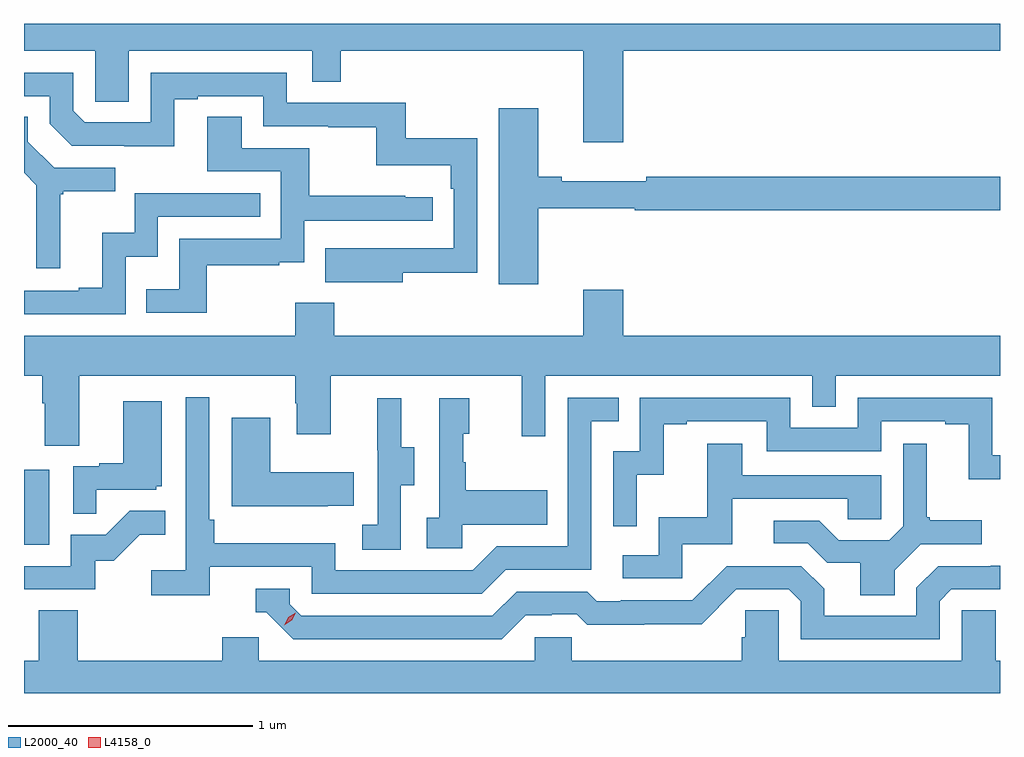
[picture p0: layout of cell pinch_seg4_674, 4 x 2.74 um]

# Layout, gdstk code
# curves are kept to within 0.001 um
import gdstk
lib = gdstk.Library(unit=1e-6, precision=1e-09)
def R(c, l, rs):  # rectangles x0, y0, x1, y1
    for r in rs: c.add(gdstk.rectangle(r[:2], r[2:], *l))
def P(c, l, *ps):  # polygons
    for p in ps: c.add(gdstk.Polygon(p, *l))
L2000_40 = (2000, 40)
L4158_0 = (4158, 0)

pinch_seg4_674 = lib.new_cell('pinch_seg4_674')
R(pinch_seg4_674, L2000_40, [(1085.793,749.508,1085.896,749.815)])
P(pinch_seg4_674, L2000_40, [(1088.248,751.532),(1089.793,751.532),(1089.793,751.643),(1085.793,751.643),(1085.793,751.532),(1086.084,751.532),(1086.084,751.324),(1086.223,751.324),(1086.223,751.532),(1086.975,751.532),(1086.975,751.405),(1087.091,751.405),(1087.091,751.532),(1088.084,751.532),(1088.084,751.158),(1088.248,751.158)],
  [(1087.345,750.622),(1087.65,750.622),(1087.65,751.174),(1087.357,751.174),(1087.357,751.32),(1086.87,751.32),(1086.87,751.443),(1086.312,751.443),(1086.312,751.239),(1086.042,751.239),(1085.994,751.287),(1085.994,751.443),(1085.793,751.443),(1085.793,751.347),(1085.898,751.347),(1085.898,751.233),(1085.988,751.143),(1086.409,751.142),(1086.409,751.335),(1086.505,751.335),(1086.505,751.347),(1086.774,751.347),(1086.774,751.224),(1087.039,751.224),(1087.039,751.219),(1087.236,751.219),(1087.236,751.064),(1087.541,751.064),(1087.541,750.968),(1087.554,750.968),(1087.554,750.723),(1087.027,750.724),(1087.027,750.584),(1087.345,750.584)],
  [(1087.9,750.888),(1088.296,750.888),(1088.296,750.88),(1089.793,750.88),(1089.793,751.016),(1088.344,751.016),(1088.344,750.997),(1087.996,750.997),(1087.996,751.016),(1087.9,751.016),(1087.9,751.297),(1087.739,751.297),(1087.739,750.576),(1087.9,750.576)],
  [(1085.941,750.945),(1085.953,750.945),(1085.953,750.956),(1086.166,750.956),(1086.166,751.053),(1085.916,751.053),(1085.809,751.16),(1085.809,751.262),(1085.793,751.262),(1085.793,751.032),(1085.844,750.981),(1085.844,750.642),(1085.941,750.642)],
  [(1086.541,750.654),(1086.839,750.654),(1086.839,750.665),(1086.942,750.665),(1086.942,750.837),(1087.468,750.837),(1087.468,750.933),(1087.355,750.933),(1087.355,750.938),(1086.962,750.938),(1086.962,751.134),(1086.685,751.134),(1086.685,751.262),(1086.545,751.262),(1086.545,751.038),(1086.846,751.038),(1086.846,750.762),(1086.43,750.762),(1086.43,750.556),(1086.295,750.556),(1086.295,750.459),(1086.541,750.459)],
  [(1086.21,750.689),(1086.342,750.689),(1086.342,750.852),(1086.761,750.852),(1086.761,750.948),(1086.246,750.948),(1086.246,750.787),(1086.113,750.787),(1086.113,750.562),(1086.017,750.562),(1086.017,750.549),(1085.793,750.549),(1085.793,750.453),(1086.21,750.453)],
  [(1086.019,750.2),(1086.904,750.2),(1086.904,750.089),(1086.911,750.089),(1086.911,749.961),(1087.051,749.961),(1087.051,750.2),(1087.832,750.2),(1087.832,749.952),(1087.929,749.952),(1087.929,750.2),(1089.024,750.2),(1089.024,750.073),(1089.12,750.073),(1089.12,750.2),(1089.793,750.2),(1089.793,750.364),(1088.248,750.364),(1088.248,750.553),(1088.084,750.553),(1088.084,750.364),(1087.064,750.364),(1087.064,750.499),(1086.904,750.499),(1086.904,750.364),(1085.793,750.364),(1085.793,750.2),(1085.867,750.2),(1085.867,750.088),(1085.879,750.088),(1085.879,749.914),(1086.019,749.914)],
  [(1086.554,749.418),(1086.972,749.418),(1086.972,749.307),(1087.669,749.307),(1087.768,749.406),(1088.118,749.406),(1088.118,750.015),(1088.231,750.015),(1088.231,750.111),(1088.022,750.111),(1088.022,749.502),(1087.731,749.502),(1087.632,749.403),(1087.068,749.403),(1087.068,749.515),(1086.572,749.515),(1086.572,749.611),(1086.552,749.611),(1086.552,750.112),(1086.456,750.112),(1086.456,749.404),(1086.315,749.404),(1086.315,749.302),(1086.554,749.302)],
  [(1088.304,749.795),(1088.414,749.795),(1088.414,750.003),(1088.509,750.003),(1088.509,750.015),(1088.838,750.015),(1088.838,749.892),(1089.306,749.892),(1089.306,750.015),(1089.569,750.015),(1089.569,750.003),(1089.665,750.003),(1089.665,749.777),(1089.793,749.777),(1089.793,749.875),(1089.762,749.875),(1089.762,750.111),(1089.21,750.111),(1089.21,749.988),(1088.934,749.988),(1088.934,750.111),(1088.316,750.111),(1088.316,749.892),(1088.208,749.892),(1088.208,749.583),(1088.304,749.583)],
  [(1087.338,749.752),(1087.393,749.752),(1087.393,749.907),(1087.339,749.907),(1087.339,750.109),(1087.241,750.109),(1087.241,749.895),(1087.242,749.895),(1087.242,749.591),(1087.179,749.591),(1087.179,749.488),(1087.338,749.488)],
  [(1087.59,749.591),(1087.937,749.591),(1087.937,749.731),(1087.603,749.731),(1087.603,749.846),(1087.593,749.846),(1087.593,749.964),(1087.618,749.964),(1087.618,750.109),(1087.494,750.109),(1087.494,749.618),(1087.443,749.618),(1087.443,749.493),(1087.59,749.493)],
  [(1086.089,749.733),(1086.336,749.733),(1086.336,749.748),(1086.358,749.748),(1086.358,750.097),(1086.2,750.097),(1086.2,749.842),(1086.101,749.842),(1086.101,749.829),(1085.994,749.829),(1085.994,749.635),(1086.089,749.635)],
  [(1087.037,749.669),(1087.145,749.669),(1087.145,749.806),(1086.802,749.806),(1086.802,750.028),(1086.644,750.028),(1086.644,749.666),(1087.037,749.666)],
  [(1088.49,749.511),(1088.695,749.511),(1088.695,749.697),(1089.169,749.697),(1089.169,749.613),(1089.306,749.613),(1089.306,749.793),(1088.737,749.793),(1088.737,749.923),(1088.593,749.923),(1088.593,749.62),(1088.394,749.62),(1088.394,749.466),(1088.247,749.466),(1088.247,749.37),(1088.49,749.37)],
  [(1089.361,749.404),(1089.468,749.511),(1089.718,749.511),(1089.718,749.608),(1089.505,749.608),(1089.505,749.62),(1089.493,749.62),(1089.493,749.923),(1089.396,749.923),(1089.396,749.583),(1089.339,749.526),(1089.133,749.526),(1089.052,749.607),(1088.865,749.607),(1088.865,749.514),(1089.006,749.514),(1089.086,749.434),(1089.221,749.434),(1089.221,749.302),(1089.361,749.302)],
  [(1086.084,749.442),(1086.16,749.442),(1086.267,749.549),(1086.371,749.549),(1086.371,749.648),(1086.227,749.648),(1086.129,749.55),(1085.985,749.55),(1085.985,749.421),(1085.793,749.421),(1085.793,749.325),(1086.084,749.325)],
  [(1087.849,749.22),(1087.956,749.22),(1087.956,749.223),(1088.059,749.223),(1088.101,749.181),(1088.334,749.181),(1088.334,749.183),(1088.57,749.183),(1088.712,749.325),(1088.928,749.325),(1088.976,749.277),(1088.976,749.121),(1089.546,749.121),(1089.546,749.277),(1089.594,749.325),(1089.793,749.325),(1089.793,749.423),(1089.756,749.423),(1089.756,749.421),(1089.54,749.421),(1089.45,749.331),(1089.45,749.217),(1089.073,749.217),(1089.073,749.327),(1088.979,749.421),(1088.673,749.421),(1088.532,749.28),(1088.239,749.28),(1088.239,749.277),(1088.14,749.277),(1088.101,749.316),(1087.812,749.316),(1087.713,749.217),(1086.93,749.217),(1086.882,749.265),(1086.882,749.328),(1086.743,749.328),(1086.743,749.232),(1086.786,749.232),(1086.897,749.121),(1087.75,749.121)],
  [(1089.793,749.032),(1089.775,749.032),(1089.775,749.24),(1089.636,749.24),(1089.636,749.032),(1088.886,749.032),(1088.886,749.24),(1088.749,749.24),(1088.749,749.13),(1088.735,749.13),(1088.735,749.032),(1088.037,749.032),(1088.037,749.13),(1087.887,749.13),(1087.887,749.032),(1086.756,749.032),(1086.756,749.13),(1086.605,749.13),(1086.605,749.032),(1086.014,749.032),(1086.014,749.24),(1085.854,749.24),(1085.854,749.032),(1085.793,749.032),(1085.793,748.9),(1089.793,748.9)])
P(pinch_seg4_674, L4158_0, [(1086.86,749.178),(1086.86,749.178),(1086.876,749.211),(1086.906,749.23),(1086.906,749.23),(1086.906,749.23),(1086.891,749.198),(1086.86,749.178)])

lib.write_gds('pinch_seg4_674.gds')
